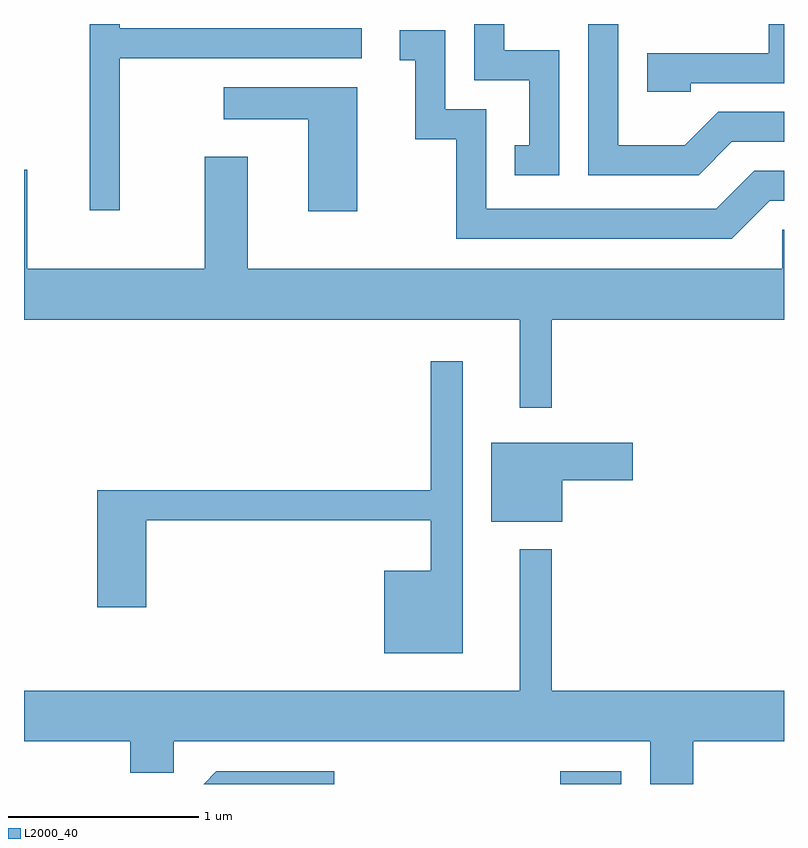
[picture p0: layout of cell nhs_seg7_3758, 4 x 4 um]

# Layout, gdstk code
import gdstk
lib = gdstk.Library(unit=1e-6, precision=1e-09)
def R(c, l, rs):  # rectangles x0, y0, x1, y1
    for r in rs: c.add(gdstk.rectangle(r[:2], r[2:], *l))
def P(c, l, *ps):  # polygons
    for p in ps: c.add(gdstk.Polygon(p, *l))
L2000_40 = (2000, 40)

nhs_seg7_3758 = lib.new_cell('nhs_seg7_3758')
R(nhs_seg7_3758, L2000_40, [(302.433,1776.252,302.754,1776.319)])
P(nhs_seg7_3758, L2000_40, [(300.114,1780.071),(301.388,1780.071),(301.388,1780.229),(300.114,1780.229),(300.114,1780.252),(299.956,1780.252),(299.956,1779.273),(300.114,1779.273)],
  [(303.119,1779.941),(303.611,1779.941),(303.611,1780.252),(303.531,1780.252),(303.531,1780.099),(302.891,1780.099),(302.891,1779.896),(303.119,1779.896)],
  [(302.429,1780.114),(302.139,1780.114),(302.139,1780.252),(301.981,1780.252),(301.981,1779.956),(302.271,1779.956),(302.271,1779.614),(302.193,1779.614),(302.193,1779.456),(302.429,1779.456)],
  [(303.337,1779.631),(303.611,1779.631),(303.611,1779.789),(303.264,1779.789),(303.089,1779.614),(302.739,1779.614),(302.739,1780.252),(302.581,1780.252),(302.581,1779.456),(303.162,1779.456)],
  [(303.537,1779.321),(303.611,1779.321),(303.611,1779.479),(303.454,1779.479),(303.254,1779.279),(302.044,1779.279),(302.044,1779.804),(301.829,1779.804),(301.829,1780.219),(301.588,1780.219),(301.588,1780.061),(301.671,1780.061),(301.671,1779.646),(301.886,1779.646),(301.886,1779.121),(303.337,1779.121)],
  [(301.364,1779.919),(300.663,1779.919),(300.663,1779.751),(301.106,1779.751),(301.106,1779.266),(301.364,1779.266)],
  [(302.389,1778.696),(303.611,1778.696),(303.611,1779.169),(303.601,1779.169),(303.601,1778.964),(300.789,1778.964),(300.789,1779.554),(300.561,1779.554),(300.561,1778.964),(299.629,1778.964),(299.629,1779.484),(299.611,1779.484),(299.611,1778.696),(302.221,1778.696),(302.221,1778.233),(302.389,1778.233)],
  [(301.919,1778.478),(301.751,1778.478),(301.751,1777.799),(299.996,1777.799),(299.996,1777.181),(300.254,1777.181),(300.254,1777.641),(301.751,1777.641),(301.751,1777.374),(301.506,1777.374),(301.506,1776.941),(301.919,1776.941)],
  [(302.444,1777.851),(302.814,1777.851),(302.814,1778.049),(302.071,1778.049),(302.071,1777.631),(302.444,1777.631)],
  [(303.134,1776.476),(303.611,1776.476),(303.611,1776.744),(302.389,1776.744),(302.389,1777.488),(302.221,1777.488),(302.221,1776.744),(299.611,1776.744),(299.611,1776.476),(300.171,1776.476),(300.171,1776.311),(300.399,1776.311),(300.399,1776.476),(302.906,1776.476),(302.906,1776.252),(303.134,1776.252)],
  [(301.244,1776.319),(300.624,1776.319),(300.557,1776.252),(301.244,1776.252)])

lib.write_gds('nhs_seg7_3758.gds')
